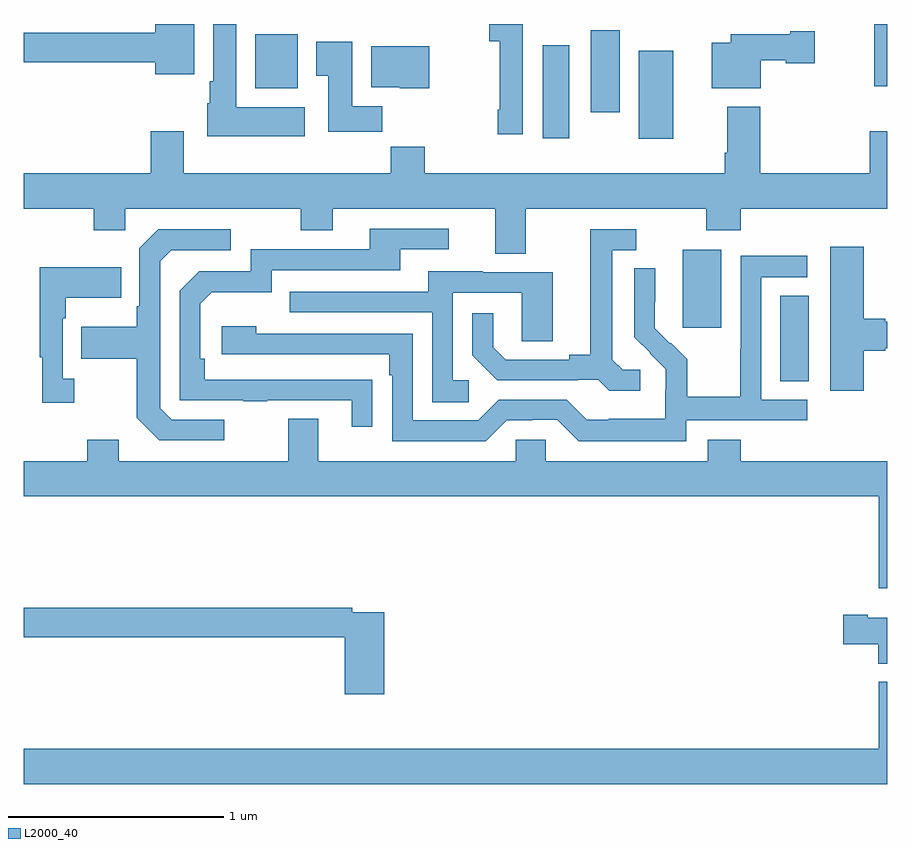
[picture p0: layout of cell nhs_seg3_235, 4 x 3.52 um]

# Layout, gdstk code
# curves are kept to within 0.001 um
import gdstk
lib = gdstk.Library(unit=1e-6, precision=1e-09)
def R(c, l, rs):  # rectangles x0, y0, x1, y1
    for r in rs: c.add(gdstk.rectangle(r[:2], r[2:], *l))
def P(c, l, *ps):  # polygons
    for p in ps: c.add(gdstk.Polygon(p, *l))
L2000_40 = (2000, 40)

nhs_seg3_235 = lib.new_cell('nhs_seg3_235')
R(nhs_seg3_235, L2000_40, [(124.505,738.745,124.636,739.142), (124.052,738.993,124.231,739.354), (123.848,739.869,124.009,740.275), (123.404,739.872,123.526,740.302), (123.626,739.992,123.76,740.372), (122.073,740.102,122.269,740.352), (124.94,740.112,125,740.4)])
P(nhs_seg3_235, L2000_40, [(122.302,740.014),(121.984,740.014),(121.984,740.4),(121.877,740.4),(121.877,740.134),(121.862,740.134),(121.862,740.034),(121.85,740.034),(121.85,739.88),(122.302,739.88)],
  [(123.312,740.4),(123.157,740.4),(123.157,740.321),(123.204,740.321),(123.204,740.002),(123.196,740.002),(123.196,739.89),(123.312,739.89)],
  [(121.789,740.4),(121.61,740.4),(121.61,740.36),(121,740.36),(121,740.224),(121.61,740.224),(121.61,740.168),(121.789,740.168)],
  [(124.414,740.231),(124.53,740.231),(124.53,740.219),(124.663,740.219),(124.663,740.366),(124.55,740.366),(124.55,740.353),(124.274,740.353),(124.274,740.314),(124.187,740.314),(124.187,740.102),(124.414,740.102)],
  [(122.66,740.02),(122.521,740.02),(122.521,740.317),(122.354,740.317),(122.354,740.161),(122.411,740.161),(122.411,739.902),(122.66,739.902)],
  [(122.878,740.296),(122.609,740.296),(122.609,740.108),(122.742,740.108),(122.742,740.102),(122.878,740.102)],
  [(123.325,739.544),(124.162,739.544),(124.162,739.445),(124.322,739.445),(124.322,739.544),(125,739.544),(125,739.903),(124.919,739.903),(124.919,739.708),(124.412,739.708),(124.412,740.017),(124.259,740.017),(124.259,739.804),(124.247,739.804),(124.247,739.708),(122.858,739.708),(122.858,739.832),(122.701,739.832),(122.701,739.708),(121.741,739.708),(121.741,739.903),(121.589,739.903),(121.589,739.708),(121,739.708),(121,739.544),(121.324,739.544),(121.324,739.445),(121.47,739.445),(121.47,739.544),(122.284,739.544),(122.284,739.445),(122.431,739.445),(122.431,739.544),(123.185,739.544),(123.185,739.336),(123.325,739.336)],
  [(122.615,738.752),(121.838,738.753),(121.838,738.85),(121.818,738.85),(121.818,739.104),(121.871,739.157),(122.148,739.157),(122.148,739.26),(122.743,739.26),(122.743,739.356),(122.968,739.356),(122.968,739.452),(122.603,739.452),(122.603,739.356),(122.052,739.356),(122.052,739.254),(121.812,739.254),(121.722,739.164),(121.722,738.657),(122.017,738.657),(122.017,738.652),(122.129,738.652),(122.129,738.657),(122.519,738.657),(122.519,738.534),(122.615,738.534)],
  [(123.856,738.798),(123.774,738.798),(123.727,738.845),(123.727,739.353),(123.838,739.353),(123.838,739.449),(123.623,739.449),(123.623,738.869),(123.527,738.869),(123.527,738.846),(123.232,738.846),(123.175,738.903),(123.175,739.06),(123.078,739.06),(123.078,738.866),(123.194,738.75),(123.566,738.75),(123.566,738.753),(123.66,738.753),(123.712,738.701),(123.856,738.701)],
  [(121.93,738.567),(121.686,738.567),(121.632,738.621),(121.632,739.302),(121.683,739.353),(121.96,739.353),(121.96,739.449),(121.623,739.449),(121.536,739.362),(121.536,739.093),(121.524,739.093),(121.524,738.997),(121.267,738.997),(121.267,738.85),(121.524,738.85),(121.524,738.577),(121.629,738.471),(121.93,738.471)],
  [(124.891,738.887),(124.991,738.887),(124.991,738.899),(125,738.899),(125,739.021),(124.991,739.021),(124.991,739.034),(124.891,739.034),(124.891,739.369),(124.736,739.369),(124.736,738.702),(124.891,738.702)],
  [(124.068,738.564),(124.63,738.564),(124.63,738.66),(124.416,738.66),(124.416,739.227),(124.63,739.227),(124.63,739.326),(124.32,739.326),(124.32,738.896),(124.318,738.896),(124.318,738.673),(124.073,738.673),(124.073,738.847),(123.996,738.924),(123.993,738.921),(123.923,738.992),(123.924,739.268),(123.828,739.268),(123.828,738.95),(123.974,738.802),(123.974,738.705),(123.972,738.705),(123.972,738.571),(123.709,738.571),(123.709,738.567),(123.609,738.567),(123.516,738.66),(123.201,738.66),(123.105,738.564),(122.802,738.564),(122.802,738.966),(122.078,738.966),(122.078,739),(121.917,739),(121.917,738.87),(122.693,738.87),(122.693,738.773),(122.706,738.773),(122.706,738.468),(123.141,738.468),(123.237,738.564),(123.356,738.564),(123.356,738.567),(123.471,738.567),(123.571,738.467),(124.068,738.467)],
  [(121.234,738.758),(121.182,738.758),(121.182,739.037),(121.195,739.037),(121.195,739.133),(121.451,739.133),(121.451,739.273),(121.074,739.273),(121.074,738.857),(121.085,738.857),(121.085,738.645),(121.234,738.645)],
  [(123.061,738.75),(122.988,738.75),(122.988,739.155),(123.306,739.155),(123.306,738.931),(123.451,738.931),(123.451,739.251),(123.127,739.251),(123.127,739.255),(122.873,739.255),(122.873,739.161),(122.233,739.161),(122.233,739.065),(122.892,739.065),(122.892,738.649),(123.061,738.649)],
  [(124.961,737.787),(125,737.787),(125,738.376),(124.322,738.376),(124.322,738.475),(124.169,738.475),(124.169,738.376),(123.417,738.376),(123.417,738.474),(123.279,738.474),(123.279,738.376),(122.365,738.376),(122.365,738.571),(122.225,738.571),(122.225,738.376),(121.441,738.376),(121.441,738.475),(121.294,738.475),(121.294,738.376),(121,738.376),(121,738.212),(124.961,738.212)],
  [(122.669,737.676),(122.522,737.676),(122.522,737.696),(121,737.696),(121,737.56),(122.486,737.56),(122.486,737.295),(122.669,737.295)],
  [(125,737.65),(124.909,737.65),(124.909,737.663),(124.797,737.663),(124.797,737.528),(124.958,737.528),(124.958,737.438),(125,737.438)],
  [(125,737.353),(124.961,737.353),(124.961,737.044),(121,737.044),(121,736.88),(125,736.88)])

lib.write_gds('nhs_seg3_235.gds')
